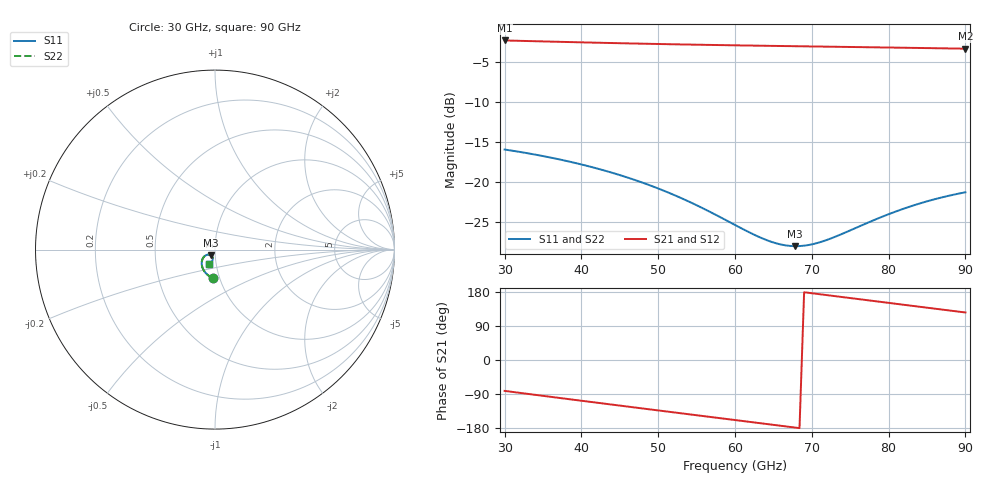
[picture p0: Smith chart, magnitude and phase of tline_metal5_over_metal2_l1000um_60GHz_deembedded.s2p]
! Created with skrf 2.2.0 (http://scikit-rf.org).
# GHz S DB R 50.0
! Port[1] = P1
! Port[2] = P2
!freq dBS11 angS11 dBS21 angS21 dBS12 angS12 dBS22 angS22
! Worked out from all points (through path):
!   101 points, 30 GHz to 90 GHz, reference 50 ohm
!   highest |S21| = -2.35 dB at 30 GHz (marker M1); lowest = -3.4 dB at 90 GHz (marker M2)
!   group delay of S21, straight-line fit = 7.07 ps
!   lowest |S11| = -28.1 dB at 67.8 GHz (marker M3), VSWR 1.08, Z = 47.7 - j3.08 ohm
!   |S11| at or under -10 dB: start of sweep to end of sweep
!   |S22| runs from -28.2 to -16.0 dB; largest |S21 - S12| = 6.5e-16
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30  -16.00 -94.5  -2.35 -81.5  -2.35 -81.5  -16.00 -94.5
32.4  -16.36 -101.2  -2.41 -87.8  -2.41 -87.8  -16.37 -101.3
34.8  -16.78 -107.7  -2.47 -94.1  -2.47 -94.1  -16.79 -107.8
37.2  -17.25 -114.0  -2.53 -100.3  -2.53 -100.3  -17.26 -114.1
40.2  -17.91 -121.4  -2.59 -108.0  -2.59 -108.0  -17.92 -121.6
45  -19.19 -132.3  -2.70 -120.3  -2.70 -120.3  -19.21 -132.4
47.4  -19.95 -137.0  -2.75 -126.4  -2.75 -126.4  -19.97 -137.2
50.4  -21.02 -142.1  -2.80 -134.1  -2.80 -134.1  -21.05 -142.3
55.2  -23.06 -147.4  -2.89 -146.3  -2.89 -146.3  -23.10 -147.7
60  -25.43 -146.8  -2.96 -158.4  -2.96 -158.4  -25.50 -147.1
63  -26.88 -141.6  -3.01 -166.0  -3.01 -166.0  -26.97 -141.8
64.8  -27.56 -136.4  -3.03 -170.6  -3.03 -170.6  -27.67 -136.5
66.6  -27.99 -129.9  -3.06 -175.2  -3.06 -175.2  -28.10 -129.9
67.8  -28.09 -125.1  -3.07 -178.2  -3.07 -178.2  -28.20 -125.1
69  -28.02 -120.5  -3.09 178.7  -3.09 178.7  -28.13 -120.3
70.2  -27.82 -116.1  -3.10 175.7  -3.10 175.7  -27.92 -115.9
72  -27.29 -110.7  -3.13 171.1  -3.13 171.1  -27.38 -110.4
75  -26.11 -104.9  -3.17 163.5  -3.17 163.5  -26.18 -104.6
77.4  -25.11 -103.1  -3.20 157.4  -3.20 157.4  -25.16 -102.8
80.4  -23.94 -103.3  -3.24 149.8  -3.24 149.8  -23.99 -103.1
85.2  -22.42 -107.3  -3.31 137.6  -3.31 137.6  -22.46 -107.2
90  -21.35 -113.8  -3.38 125.4  -3.38 125.4  -21.39 -113.7
